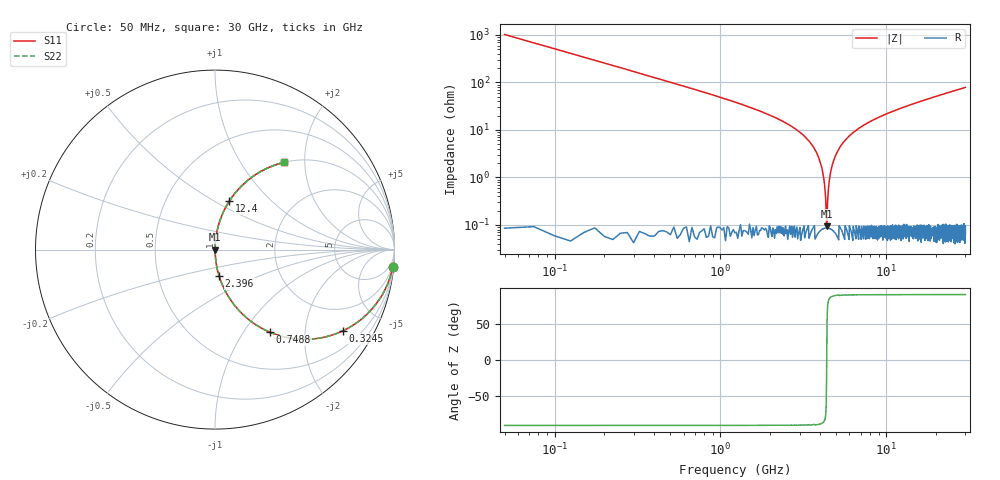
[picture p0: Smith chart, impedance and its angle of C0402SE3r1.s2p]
!	AVX Thin Film Operation 	Date: April 2014
!	Description: Accu-P® Series, Thin Film  SMD RF Capacitor
!	Part Number: 04025J3R1ABSTR
# MHZ S MA R 50
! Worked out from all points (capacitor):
!   1201 points, 50 MHz to 30 GHz, reference 50 ohm
!   read as one part in series: C = 3.1 pF near 199.8 MHz
!   lowest |Z| = 93.8 mohm at 4.368 GHz (marker M1)
!   series resonance near 4.375 GHz, so ESL is about 430 pH
!   S11 on the Smith chart (normalised r, x): 50 MHz: 1, -21; 324.5 MHz: 1.00, -3.15; 748.8 MHz: 1.00, -1.33; 2.396 GHz: 1.00, -0.30; 12.4 GHz: 1.00, +0.58; 30 GHz: 1.00, +1.58
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50  0.995 -5.6  0.097 84.4  0.097 84.4  0.995 -5.6
324.542  0.844 -32.4  0.536 57.5  0.536 57.5  0.844 -32.4
748.833  0.554 -56.3  0.832 33.6  0.832 33.6  0.554 -56.3
1347.833  0.326 -70.9  0.945 19.0  0.945 19.0  0.326 -70.9
2396.083  0.148 -81.2  0.988 8.5  0.988 8.5  0.148 -81.2
3219.708  0.073 -85.3  0.997 4.2  0.997 4.2  0.073 -85.3
3768.792  0.035 -86.8  0.999 2.0  0.999 2.0  0.035 -86.8
4068.292  0.017 -86.6  0.999 1.0  0.999 1.0  0.017 -86.6
4267.958  0.005828 -82.5  0.999 0.3  0.999 0.3  0.005828 -82.5
4367.792  0.0008129 -26.1  0.999 0.0  0.999 0.0  0.0008129 -26.1
4467.625  0.004996 81.3  0.999 -0.3  0.999 -0.3  0.004996 81.3
4592.417  0.011 85.7  0.999 -0.7  0.999 -0.7  0.011 85.7
4692.25  0.016 86.5  0.999 -0.9  0.999 -0.9  0.016 86.5
5041.667  0.033 86.8  0.999 -1.9  0.999 -1.9  0.033 86.8
5740.5  0.064 85.7  0.997 -3.7  0.997 -3.7  0.064 85.7
6738.833  0.104 83.6  0.994 -6.0  0.994 -6.0  0.104 83.6
10058.29  0.214 77.5  0.976 -12.3  0.976 -12.3  0.214 77.5
12404.38  0.28 73.6  0.959 -16.2  0.959 -16.2  0.28 73.6
15025  0.346 69.6  0.938 -20.2  0.938 -20.2  0.346 69.6
20016.67  0.455 62.9  0.89 -27.1  0.89 -27.1  0.455 62.9
25033.29  0.545 56.9  0.838 -33.0  0.838 -33.0  0.545 56.9
30000  0.619 51.7  0.785 -38.2  0.785 -38.2  0.619 51.7
